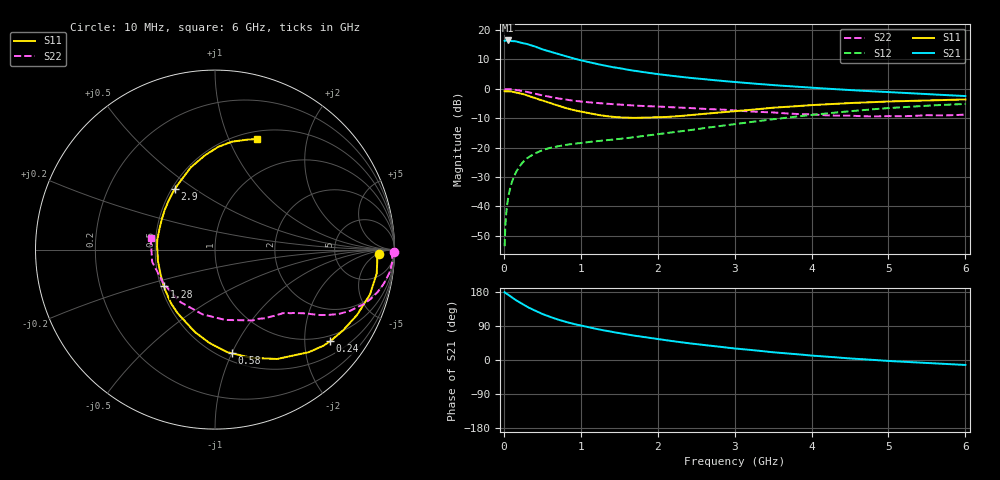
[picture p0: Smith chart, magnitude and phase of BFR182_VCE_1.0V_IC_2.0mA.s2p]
! Infineon Technologies  Discrete & RF Semiconductors
! BFR182
! VCE =  1.0 V,  IC =  2.0 mA
! Common Emitter S-Parameters:  Nov 2015
# GHz  S  MA  R  50
!  f  S11  S21  S12  S22
! GHz  MAG  ANG  MAG  ANG  MAG  ANG  MAG  ANG
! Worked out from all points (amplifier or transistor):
!   210 points, 10 MHz to 6 GHz, reference 50 ohm
!   highest |S21| = 16.5 dB at 50 MHz (marker M1)
!   |S21| within 3 dB of that: start of sweep to 498 MHz
!   unconditionally stable (mu >= 1): 1.416 GHz to 3.305 GHz
!   at 185 MHz: K = 0.18, MSG = 21.6 dB, |S12| = -27.2 dB
!   at 1.52 GHz: K = 1.03, MAG = 10.9 dB, |S12| = -17.0 dB
!   at 6 GHz: K = 0.93, MSG = 1.3 dB, |S12| = -5.2 dB
!   S11 on the Smith chart (normalised r, x): 10 MHz: 20, -6; 240 MHz: 0.84, -2.63; 580 MHz: 0.57, -1.00; 1.28 GHz: 0.52, -0.24; 2.9 GHz: 0.52, +0.42; 6 GHz: 0.59, +1.28
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0.01  0.9121 -1.6  6.557 178.9  0.0021 91.6  0.9959 -0.8
0.015  0.9089 -2.5  6.602 178.0  0.0034 91.7  0.9909 -1.2
0.025  0.9063 -4.2  6.647 176.4  0.0061 89.1  0.9867 -2.0
0.05  0.9109 -8.4  6.654 173.1  0.0124 84.1  0.991 -3.8
0.095  0.8993 -15.4  6.503 167.2  0.0235 81.2  0.9814 -7.1
0.15  0.8713 -24.7  6.459 158.7  0.0362 75.4  0.9602 -11.3
0.24  0.8204 -38.5  6.017 147.8  0.0549 68.2  0.9184 -16.7
0.3  0.7748 -47.5  5.798 140.4  0.0657 64.6  0.8852 -19.9
0.4  0.701 -60.4  5.282 130.8  0.079 58.5  0.8263 -24.4
0.5  0.6345 -71.7  4.7 121.5  0.0902 54.1  0.7751 -27.6
0.58  0.5853 -80.7  4.388 115.4  0.0971 51.4  0.7392 -29.4
0.7  0.5206 -93.5  3.964 106.9  0.1052 48.6  0.6896 -31.9
0.8  0.4737 -103.4  3.61 100.9  0.1109 46.9  0.6566 -33.3
1.02  0.405 -122.3  3.019 89.9  0.1205 45.3  0.6047 -35.9
1.28  0.351 -144.2  2.536 79.0  0.1315 45.3  0.5645 -38.7
1.6  0.3241 -169.4  2.125 67.3  0.145 47.3  0.5286 -42.0
2.02  0.3278 163.3  1.766 54.7  0.1697 49.9  0.4986 -47.5
2.9  0.4051 123.2  1.341 32.8  0.241 51.5  0.4376 -64.4
3.1  0.4266 117.0  1.276 28.6  0.2611 50.7  0.4201 -69.5
4.1  0.5363 94.4  1.026 10.3  0.3707 42.9  0.3598 -105.1
5.1  0.6133 79.7  0.868 -3.5  0.4798 30.1  0.3419 -150.8
6  0.6597 69.1  0.753 -13.1  0.5527 16.2  0.3644 169.4
